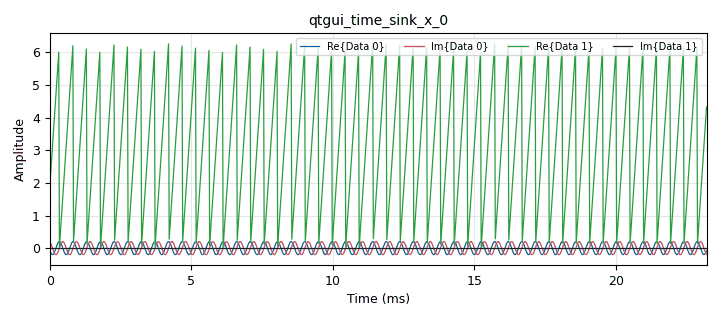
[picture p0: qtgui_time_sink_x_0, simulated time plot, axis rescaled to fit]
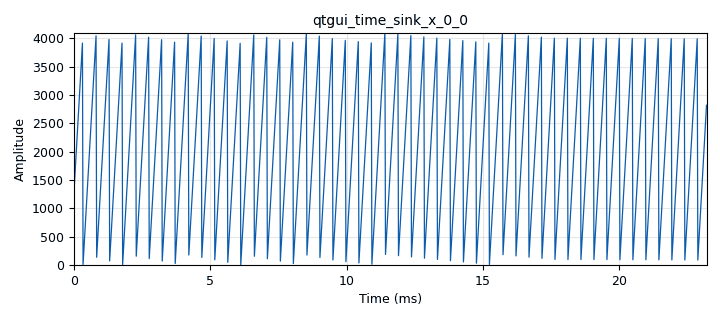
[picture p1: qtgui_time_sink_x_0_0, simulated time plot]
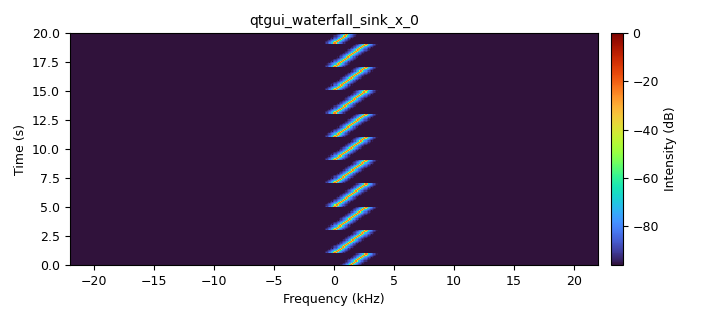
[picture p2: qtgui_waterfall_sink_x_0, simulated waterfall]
options:
  parameters:
    generate_options: qt_gui
    id: sound_test_with_chirp
    output_language: python
    title: Sound test with chirp
  states: {}

blocks:
- name: chirp_freq
  id: variable_qtgui_range
  parameters:
    start: '0'
    step: '.01'
    stop: '1'
    value: '0.5'
  states: {}
- name: samp_rate
  id: variable
  parameters:
    value: '44100'
  states: {}
- name: analog_const_source_x_0
  id: analog_const_source_x
  parameters:
    const: '0.2'
    type: float
  states: {}
- name: analog_const_source_x_0_0
  id: analog_const_source_x
  parameters:
    const: '0'
    type: float
  states: {}
- name: analog_sig_source_x_0
  id: analog_sig_source_x
  parameters:
    amp: '255'
    freq: chirp_freq
    offset: '0'
    phase: '0'
    samp_rate: samp_rate
    type: int
    waveform: analog.GR_SAW_WAVE
  states: {}
- name: audio_sink_0
  id: audio_sink
  parameters:
    samp_rate: samp_rate
  states: {}
- name: audio_source_0
  id: audio_source
  parameters:
    samp_rate: samp_rate
  states: {}
- name: blocks_complex_to_float_0
  id: blocks_complex_to_float
  parameters: {}
  states: {}
- name: blocks_float_to_complex_0
  id: blocks_float_to_complex
  parameters: {}
  states: {}
- name: blocks_float_to_complex_1
  id: blocks_float_to_complex
  parameters: {}
  states: {}
- name: blocks_magphase_to_complex_0
  id: blocks_magphase_to_complex
  parameters: {}
  states: {}
- name: blocks_multiply_conjugate_cc_0
  id: blocks_multiply_conjugate_cc
  parameters: {}
  states: {}
- name: blocks_multiply_const_vxx_0
  id: blocks_multiply_const_vxx
  parameters:
    const: 1/4096*2*math.pi
    type: float
  states: {}
- name: blocks_throttle2_0
  id: blocks_throttle2
  parameters:
    samples_per_second: samp_rate
    type: complex
  states: {}
- name: blocks_wavfile_sink_0
  id: blocks_wavfile_sink
  parameters:
    bits_per_sample1: FORMAT_PCM_16
    file: /home/user/data/sound_test_with_chirp.wav
    format: FORMAT_WAV
    nchan: '2'
    samp_rate: samp_rate
  states: {}
- name: epy_block_0
  id: epy_block
  parameters:
    _source_code: "\"\"\"\nEmbedded Python Blocks:\n\nEach time this file is saved, GRC will instantiate the first class it finds\nto get ports and parameters of your block. The arguments to __init__  will\nbe the parameters. All of them are required to have default values!\n\"\"\"\n\n\n#!/usr/bin/env python\n# -*- coding: utf-8 -*-\n# \n# GNU Radio Python block for integer input integration with float output\n#\n\nimport numpy as np\nfrom gnuradio import gr\n\nclass int_integrator_ff(gr.sync_block):\n    \"\"\"\n    Integrates an integer input and outputs as a float.\n    \"\"\"\n\n    def __init__(self, integer_modulus=4096):\n        gr.sync_block.__init__(\n            self,\n            name='Integer Integrator',\n            in_sig=[np.int32],\n            out_sig=[np.float32]\n        )\n        # Initialize the accumulator\n        self.accumulator = 0.0\n        self.integer_modulus=integer_modulus\n\n    def work(self, input_items, output_items):\n        in0 = input_items[0]    # Integer input\n        out = output_items[0]   # Float output\n\n        # Integrate the input signal\n        for i in range(len(in0)):\n            self.accumulator += in0[i]\n            self.accumulator %= self.integer_modulus\n            out[i] = self.accumulator\n\n        return len(output_items[0])\n\n"
    integer_modulus: '4096'
  states: {}
- name: import_0
  id: import
  parameters:
    imports: import math
  states: {}
- name: qtgui_freq_sink_x_0
  id: qtgui_freq_sink_x
  parameters:
    bw: samp_rate
    fc: '0'
    fftsize: '1024'
    type: complex
  states: {}
- name: qtgui_time_sink_x_0
  id: qtgui_time_sink_x
  parameters:
    nconnections: '2'
    size: '1024'
    srate: samp_rate
    type: complex
  states: {}
- name: qtgui_time_sink_x_0_0
  id: qtgui_time_sink_x
  parameters:
    size: '1024'
    srate: samp_rate
    type: float
    ymax: '4096'
  states: {}
- name: qtgui_time_sink_x_1
  id: qtgui_time_sink_x
  parameters:
    size: '1024'
    srate: samp_rate
    type: complex
  states: {}
- name: qtgui_waterfall_sink_x_0
  id: qtgui_waterfall_sink_x
  parameters:
    bw: samp_rate
    fc: '0'
    fftsize: '1024'
    int_max: '0'
    int_min: '-96'
    type: complex
  states: {}

connections:
- [analog_const_source_x_0, '0', blocks_magphase_to_complex_0, '0']
- [analog_const_source_x_0_0, '0', blocks_float_to_complex_0, '1']
- [analog_const_source_x_0_0, '0', blocks_float_to_complex_1, '1']
- [analog_sig_source_x_0, '0', epy_block_0, '0']
- [audio_source_0, '0', blocks_float_to_complex_1, '0']
- [audio_source_0, '0', blocks_wavfile_sink_0, '1']
- [blocks_complex_to_float_0, '0', audio_sink_0, '0']
- [blocks_complex_to_float_0, '0', blocks_wavfile_sink_0, '0']
- [blocks_float_to_complex_0, '0', qtgui_time_sink_x_0, '1']
- [blocks_float_to_complex_1, '0', blocks_multiply_conjugate_cc_0, '1']
- [blocks_magphase_to_complex_0, '0', blocks_throttle2_0, '0']
- [blocks_magphase_to_complex_0, '0', qtgui_waterfall_sink_x_0, '0']
- [blocks_multiply_conjugate_cc_0, '0', qtgui_freq_sink_x_0, '0']
- [blocks_multiply_conjugate_cc_0, '0', qtgui_time_sink_x_1, '0']
- [blocks_multiply_const_vxx_0, '0', blocks_float_to_complex_0, '0']
- [blocks_multiply_const_vxx_0, '0', blocks_magphase_to_complex_0, '1']
- [blocks_throttle2_0, '0', blocks_complex_to_float_0, '0']
- [blocks_throttle2_0, '0', blocks_multiply_conjugate_cc_0, '0']
- [blocks_throttle2_0, '0', qtgui_time_sink_x_0, '0']
- [epy_block_0, '0', blocks_multiply_const_vxx_0, '0']
- [epy_block_0, '0', qtgui_time_sink_x_0_0, '0']

metadata:
  file_format: 1
  grc_version: 3.10.9.2
